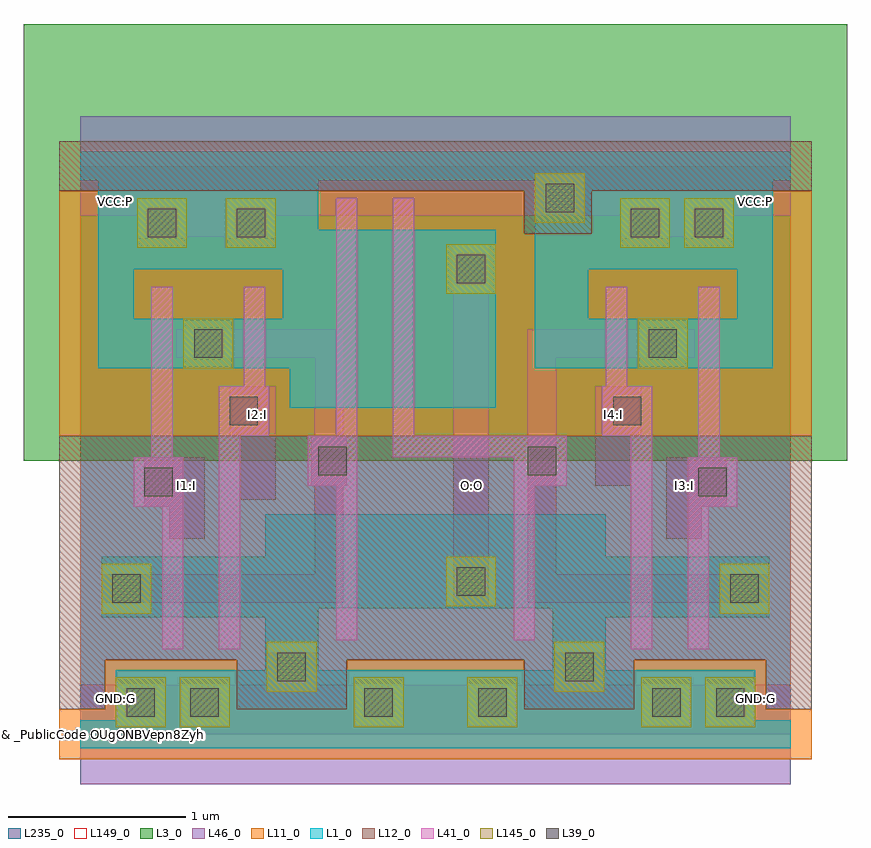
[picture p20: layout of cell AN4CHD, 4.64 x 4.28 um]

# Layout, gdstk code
from math import pi, radians
import gdstk
lib = gdstk.Library(unit=1e-6, precision=1e-09)
def R(c, l, rs):  # rectangles x0, y0, x1, y1
    for r in rs: c.add(gdstk.rectangle(r[:2], r[2:], *l))
def P(c, l, *ps):  # polygons
    for p in ps: c.add(gdstk.Polygon(p, *l))
L1_0 = (1, 0)
L3_0 = (3, 0)
L11_0 = (11, 0)
L12_0 = (12, 0)
L39_0 = (39, 0)
L41_0 = (41, 0)
L46_0 = (46, 0)
L145_0 = (145, 0)
L149_0 = (149, 0)
L235_0 = (235, 0)

c_mc = lib.new_cell('MC')
R(c_mc, L39_0, [(-0.08,-0.08,0.08,0.08)])
R(c_mc, L46_0, [(-0.08,-0.14,0.08,0.14)])
R(c_mc, L145_0, [(-0.14,-0.14,0.14,0.14)])

c_pc = lib.new_cell('PC')
R(c_pc, L39_0, [(-0.08,-0.08,0.08,0.08)])
R(c_pc, L41_0, [(-0.14,-0.14,0.14,0.14)])
R(c_pc, L46_0, [(-0.08,-0.14,0.08,0.14)])

phlenmfeccn__41gum4xw0 = lib.new_cell('PHLENMFECCN$$41Gum4XW0')
R(phlenmfeccn__41gum4xw0, L1_0, [(0,-0.08,4,0.08), (0.2,0.08,1.04,0.36), (1.34,0.08,2.18,0.36), (2.18,0.08,2.66,0.36), (2.96,0.08,3.8,0.36), (0.12,0.66,1.04,1), (2.96,0.66,3.88,1), (0,3.12,4,3.28)])
P(phlenmfeccn__41gum4xw0, L1_0, [(3.9,3.12),(3.7,3.12),(3.7,2.34),(2.86,2.34),(2.86,2.62),(3.7,2.62),(3.7,3.12),(2.56,3.12),(2.56,2.06),(3.9,2.06)],
  [(1.9,1.24),(2.96,1.24),(2.96,0.08),(2.66,0.08),(2.66,0.71),(1.9,0.71)],
  [(2.34,2.84),(1.34,2.84),(1.34,3.12),(1.14,3.12),(1.14,2.34),(0.3,2.34),(0.3,2.62),(1.14,2.62),(1.14,3.12),(0.1,3.12),(0.1,2.06),(1.18,2.06),(1.18,1.84),(2.34,1.84)],
  [(1.9,1.24),(1.04,1.24),(1.04,0.08),(1.34,0.08),(1.34,0.71),(1.9,0.71)])
R(phlenmfeccn__41gum4xw0, L3_0, [(-0.32,1.54,4.32,4)])
R(phlenmfeccn__41gum4xw0, L11_0, [(-0.12,-0.14,4.12,0.14), (0.14,0.14,0.88,0.42), (1.5,0.14,2.5,0.42), (3.12,0.14,3.86,0.42)])
P(phlenmfeccn__41gum4xw0, L11_0, [(4.12,3.06),(2.88,3.06),(2.88,2.82),(2.5,2.82),(2.5,3.06),(-0.12,3.06),(-0.12,1.68),(4.12,1.68)])
P(phlenmfeccn__41gum4xw0, L12_0, [(4.12,3.34),(-0.12,3.34),(-0.12,3.06),(2.5,3.06),(2.5,2.82),(2.88,2.82),(2.88,3.06),(4.12,3.06)],
  [(4.12,1.68),(-0.12,1.68),(-0.12,0.14),(0.14,0.14),(0.14,0.42),(0.88,0.42),(0.88,0.14),(1.5,0.14),(1.5,0.42),(2.5,0.42),(2.5,0.14),(3.12,0.14),(3.12,0.42),(3.86,0.42),(3.86,0.14),(4.12,0.14)])
R(phlenmfeccn__41gum4xw0, L46_0, [(1.05,0.28,1.33,0.46), (2.67,0.28,2.95,0.45), (1.3,1.4,1.5,1.68), (0.32,2.8,1.1,2.92), (3.04,2.8,3.68,2.92)])
R(phlenmfeccn__41gum4xw0, L149_0, [(0,0,4,3.2)])
R(phlenmfeccn__41gum4xw0, L235_0, [(0,0,4,3.2), (0,0,4,3.2), (0,0,4,3.2), (0,0,4,3.2), (0,0,4,3.2), (0,0,4,3.2), (0,0,4,3.2), (0,0,4,3.2), (0,0,4,3.2), (0,0,4,3.2), (0,0,4,3.2), (0,0,4,3.2)])
phlenmfeccn__41gum4xw0.add(gdstk.FlexPath([(0,3.2),(4,3.2)], 0.56, ends="flush", simple_path=True, layer=46, datatype=0))  # L46_0
phlenmfeccn__41gum4xw0.add(gdstk.FlexPath([(0,0),(4,0)], 0.56, ends="flush", simple_path=True, layer=46, datatype=0))  # L46_0
phlenmfeccn__41gum4xw0.add(gdstk.FlexPath([(3,1.4),(3,1.96)], 0.2, ends="flush", simple_path=True, layer=46, datatype=0))  # L46_0
phlenmfeccn__41gum4xw0.add(gdstk.FlexPath([(3.4,1.1),(3.4,1.56)], 0.2, ends="flush", simple_path=True, layer=46, datatype=0))  # L46_0
phlenmfeccn__41gum4xw0.add(gdstk.FlexPath([(3.46,2.2),(2.6,2.2),(2.6,0.82),(3.88,0.82)], 0.16, ends="flush", simple_path=True, layer=46, datatype=0))  # L46_0
phlenmfeccn__41gum4xw0.add(gdstk.FlexPath([(1,1.32),(1,1.96)], 0.2, ends="flush", simple_path=True, layer=46, datatype=0))  # L46_0
phlenmfeccn__41gum4xw0.add(gdstk.FlexPath([(0.6,1.1),(0.6,1.56)], 0.2, ends="flush", simple_path=True, layer=46, datatype=0))  # L46_0
phlenmfeccn__41gum4xw0.add(gdstk.FlexPath([(2.2,0.72),(2.2,2.76)], 0.2, ends="flush", simple_path=True, layer=46, datatype=0))  # L46_0
phlenmfeccn__41gum4xw0.add(gdstk.FlexPath([(0.54,2.2),(1.4,2.2),(1.4,0.82),(0.12,0.82)], 0.16, ends="flush", simple_path=True, layer=46, datatype=0))  # L46_0
phlenmfeccn__41gum4xw0.add(gdstk.FlexPath([(0.2,0),(0.2,3.2)], 0, ends="flush", simple_path=True, layer=145, datatype=0))  # L145_0
phlenmfeccn__41gum4xw0.add(gdstk.FlexPath([(0.6,0),(0.6,3.2)], 0, ends="flush", simple_path=True, layer=145, datatype=0))  # L145_0
phlenmfeccn__41gum4xw0.add(gdstk.FlexPath([(1,0),(1,3.2)], 0, ends="flush", simple_path=True, layer=145, datatype=0))  # L145_0
phlenmfeccn__41gum4xw0.add(gdstk.FlexPath([(1.4,0),(1.4,3.2)], 0, ends="flush", simple_path=True, layer=145, datatype=0))  # L145_0
phlenmfeccn__41gum4xw0.add(gdstk.FlexPath([(1.8,0),(1.8,3.2)], 0, ends="flush", simple_path=True, layer=145, datatype=0))  # L145_0
phlenmfeccn__41gum4xw0.add(gdstk.FlexPath([(2.2,0),(2.2,3.2)], 0, ends="flush", simple_path=True, layer=145, datatype=0))  # L145_0
phlenmfeccn__41gum4xw0.add(gdstk.FlexPath([(2.6,0),(2.6,3.2)], 0, ends="flush", simple_path=True, layer=145, datatype=0))  # L145_0
phlenmfeccn__41gum4xw0.add(gdstk.FlexPath([(3,0),(3,3.2)], 0, ends="flush", simple_path=True, layer=145, datatype=0))  # L145_0
phlenmfeccn__41gum4xw0.add(gdstk.FlexPath([(3.4,0),(3.4,3.2)], 0, ends="flush", simple_path=True, layer=145, datatype=0))  # L145_0
phlenmfeccn__41gum4xw0.add(gdstk.FlexPath([(3.8,0),(3.8,3.2)], 0, ends="flush", simple_path=True, layer=145, datatype=0))  # L145_0
phlenmfeccn__41gum4xw0.add(gdstk.FlexPath([(0,3),(4,3)], 0, ends="flush", simple_path=True, layer=145, datatype=0))  # L145_0
phlenmfeccn__41gum4xw0.add(gdstk.FlexPath([(0,2.6),(4,2.6)], 0, ends="flush", simple_path=True, layer=145, datatype=0))  # L145_0
phlenmfeccn__41gum4xw0.add(gdstk.FlexPath([(0,2.2),(4,2.2)], 0, ends="flush", simple_path=True, layer=145, datatype=0))  # L145_0
phlenmfeccn__41gum4xw0.add(gdstk.FlexPath([(0,1.8),(4,1.8)], 0, ends="flush", simple_path=True, layer=145, datatype=0))  # L145_0
phlenmfeccn__41gum4xw0.add(gdstk.FlexPath([(0,1.4),(4,1.4)], 0, ends="flush", simple_path=True, layer=145, datatype=0))  # L145_0
phlenmfeccn__41gum4xw0.add(gdstk.FlexPath([(0,1),(4,1)], 0, ends="flush", simple_path=True, layer=145, datatype=0))  # L145_0
phlenmfeccn__41gum4xw0.add(gdstk.FlexPath([(0,0.6),(4,0.6)], 0, ends="flush", simple_path=True, layer=145, datatype=0))  # L145_0
phlenmfeccn__41gum4xw0.add(gdstk.FlexPath([(0,0.2),(4,0.2)], 0, ends="flush", simple_path=True, layer=145, datatype=0))  # L145_0
phlenmfeccn__41gum4xw0.add(gdstk.FlexPath([(0.98,2.52),(0.98,1.9),(0.84,1.9),(0.84,0.48)], 0.12, ends="flush", simple_path=True, layer=41, datatype=0))  # L41_0
phlenmfeccn__41gum4xw0.add(gdstk.FlexPath([(3.02,2.52),(3.02,1.9),(3.16,1.9),(3.16,0.48)], 0.12, ends="flush", simple_path=True, layer=41, datatype=0))  # L41_0
phlenmfeccn__41gum4xw0.add(gdstk.FlexPath([(3.54,2.52),(3.54,1.5),(3.48,1.5),(3.48,0.48)], 0.12, ends="flush", simple_path=True, layer=41, datatype=0))  # L41_0
phlenmfeccn__41gum4xw0.add(gdstk.FlexPath([(1.82,3.02),(1.82,1.62),(2.5,1.62),(2.5,0.53)], 0.12, ends="flush", simple_path=True, layer=41, datatype=0))  # L41_0
phlenmfeccn__41gum4xw0.add(gdstk.FlexPath([(0.46,2.52),(0.46,1.5),(0.52,1.5),(0.52,0.48)], 0.12, ends="flush", simple_path=True, layer=41, datatype=0))  # L41_0
phlenmfeccn__41gum4xw0.add(gdstk.FlexPath([(1.5,0.53),(1.5,3.02)], 0.12, ends="flush", simple_path=True, layer=41, datatype=0))  # L41_0
r = gdstk.Reference(c_mc, (0.46,2.88), rotation=pi/2); r.repetition = gdstk.Repetition(1, 1, v1=(0,0.28), v2=(-0.32,0)); phlenmfeccn__41gum4xw0.add(r)
r = gdstk.Reference(c_mc, (0.26,0.82), rotation=pi/2); r.repetition = gdstk.Repetition(1, 1, v1=(0,0.28), v2=(-0.32,0)); phlenmfeccn__41gum4xw0.add(r)
r = gdstk.Reference(c_mc, (2.2,0.86)); r.repetition = gdstk.Repetition(1, 1, v1=(0.28,0), v2=(0,0.32)); phlenmfeccn__41gum4xw0.add(r)
r = gdstk.Reference(c_mc, (0.96,2.88), rotation=pi/2); r.repetition = gdstk.Repetition(1, 1, v1=(0,0.28), v2=(-0.32,0)); phlenmfeccn__41gum4xw0.add(r)
r = gdstk.Reference(c_mc, (0.7,0.18), rotation=pi/2); r.repetition = gdstk.Repetition(1, 1, v1=(0,0.28), v2=(-0.32,0)); phlenmfeccn__41gum4xw0.add(r)
r = gdstk.Reference(c_mc, (1.19,0.38), rotation=pi/2); r.repetition = gdstk.Repetition(1, 1, v1=(0,0.28), v2=(-0.32,0)); phlenmfeccn__41gum4xw0.add(r)
r = gdstk.Reference(c_mc, (1.68,0.18), rotation=pi/2, x_reflection=True); r.repetition = gdstk.Repetition(1, 1, v1=(0,0.28), v2=(0.32,0)); phlenmfeccn__41gum4xw0.add(r)
r = gdstk.Reference(c_mc, (0.34,0.18), rotation=pi/2); r.repetition = gdstk.Repetition(1, 1, v1=(0,0.28), v2=(-0.32,0)); phlenmfeccn__41gum4xw0.add(r)
r = gdstk.Reference(c_mc, (2.2,2.62)); r.repetition = gdstk.Repetition(1, 1, v1=(0.28,0), v2=(0,0.32)); phlenmfeccn__41gum4xw0.add(r)
r = gdstk.Reference(c_mc, (3.54,2.88), rotation=pi/2, x_reflection=True); r.repetition = gdstk.Repetition(1, 1, v1=(0,0.28), v2=(0.32,0)); phlenmfeccn__41gum4xw0.add(r)
r = gdstk.Reference(c_mc, (3.74,0.82), rotation=pi/2, x_reflection=True); r.repetition = gdstk.Repetition(1, 1, v1=(0,0.28), v2=(0.32,0)); phlenmfeccn__41gum4xw0.add(r)
r = gdstk.Reference(c_mc, (3.18,2.88), rotation=pi/2, x_reflection=True); r.repetition = gdstk.Repetition(1, 1, v1=(0,0.28), v2=(0.32,0)); phlenmfeccn__41gum4xw0.add(r)
r = gdstk.Reference(c_mc, (2.7,3.02), rotation=pi/2, x_reflection=True); r.repetition = gdstk.Repetition(1, 1, v1=(0,0.28), v2=(0.32,0)); phlenmfeccn__41gum4xw0.add(r)
r = gdstk.Reference(c_mc, (3.3,0.18), rotation=pi/2, x_reflection=True); r.repetition = gdstk.Repetition(1, 1, v1=(0,0.28), v2=(0.32,0)); phlenmfeccn__41gum4xw0.add(r)
r = gdstk.Reference(c_mc, (2.81,0.38), rotation=pi/2, x_reflection=True); r.repetition = gdstk.Repetition(1, 1, v1=(0,0.28), v2=(0.32,0)); phlenmfeccn__41gum4xw0.add(r)
r = gdstk.Reference(c_mc, (2.32,0.18), rotation=pi/2); r.repetition = gdstk.Repetition(1, 1, v1=(0,0.28), v2=(-0.32,0)); phlenmfeccn__41gum4xw0.add(r)
r = gdstk.Reference(c_mc, (3.66,0.18), rotation=pi/2, x_reflection=True); r.repetition = gdstk.Repetition(1, 1, v1=(0,0.28), v2=(0.32,0)); phlenmfeccn__41gum4xw0.add(r)
r = gdstk.Reference(c_mc, (3.28,2.2), rotation=pi/2, x_reflection=True); r.repetition = gdstk.Repetition(1, 1, v1=(0,0.28), v2=(0.32,0)); phlenmfeccn__41gum4xw0.add(r)
r = gdstk.Reference(c_mc, (0.72,2.2), rotation=pi/2); r.repetition = gdstk.Repetition(1, 1, v1=(0,0.28), v2=(-0.32,0)); phlenmfeccn__41gum4xw0.add(r)
r = gdstk.Reference(c_pc, (0.44,1.42)); r.repetition = gdstk.Repetition(1, 1, v1=(0.28,0), v2=(0,0.32)); phlenmfeccn__41gum4xw0.add(r)
r = gdstk.Reference(c_pc, (1.42,1.54)); r.repetition = gdstk.Repetition(1, 1, v1=(0.28,0), v2=(0,0.32)); phlenmfeccn__41gum4xw0.add(r)
r = gdstk.Reference(c_pc, (3.56,1.42), rotation=pi, x_reflection=True); r.repetition = gdstk.Repetition(1, 1, v1=(-0.28,0), v2=(0,0.32)); phlenmfeccn__41gum4xw0.add(r)
r = gdstk.Reference(c_pc, (2.6,1.54), rotation=pi, x_reflection=True); r.repetition = gdstk.Repetition(1, 1, v1=(-0.28,0), v2=(0,0.32)); phlenmfeccn__41gum4xw0.add(r)
r = gdstk.Reference(c_pc, (3.08,1.82), rotation=pi, x_reflection=True); r.repetition = gdstk.Repetition(1, 1, v1=(-0.28,0), v2=(0,0.32)); phlenmfeccn__41gum4xw0.add(r)
r = gdstk.Reference(c_pc, (0.92,1.82)); r.repetition = gdstk.Repetition(1, 1, v1=(0.28,0), v2=(0,0.32)); phlenmfeccn__41gum4xw0.add(r)
phlenmfeccn__41gum4xw0.add(gdstk.Label('#Id:7JQJaQKD4XF6RXVVFbbMNLABMd9CZLGaK99JL0306AKC574:4A3EOSP8MXXWHY99T6WBH22210RAL9', (0.02,0.02), layer=147, texttype=0))
phlenmfeccn__41gum4xw0.add(gdstk.Label('AN4CHD', (0,0), layer=144, texttype=0))
phlenmfeccn__41gum4xw0.add(gdstk.Label('VCC:P', (0.2,3), layer=101, texttype=0))
phlenmfeccn__41gum4xw0.add(gdstk.Label('VCC:P', (3.8,3), layer=101, texttype=0))
phlenmfeccn__41gum4xw0.add(gdstk.Label('GND:G', (0.2,0.2), layer=101, texttype=0))
phlenmfeccn__41gum4xw0.add(gdstk.Label('GND:G', (3.8,0.2), layer=101, texttype=0))
phlenmfeccn__41gum4xw0.add(gdstk.Label('I4:I', (3,1.8), layer=101, texttype=0))
phlenmfeccn__41gum4xw0.add(gdstk.Label('I3:I', (3.4,1.4), layer=101, texttype=0))
phlenmfeccn__41gum4xw0.add(gdstk.Label('O:O', (2.2,1.4), layer=101, texttype=0))
phlenmfeccn__41gum4xw0.add(gdstk.Label('I2:I', (1,1.8), layer=101, texttype=0))
phlenmfeccn__41gum4xw0.add(gdstk.Label('I1:I', (0.6,1.4), layer=101, texttype=0))

an4chd = lib.new_cell('AN4CHD')
R(an4chd, L149_0, [(0,0,4,3.2)])
an4chd.add(gdstk.Reference(phlenmfeccn__41gum4xw0, (0,0)))
an4chd.add(gdstk.Label('& _PublicCode OUgONBVepn8Zyhuhb7nzKSFGv0ozQ4p7', (0,0), layer=3, texttype=0))
an4chd.add(gdstk.Label('& Metric 12.80', (0,0), layer=3, texttype=0))
an4chd.add(gdstk.Label('& Version 2009Q1V3.0', (0,0), layer=3, texttype=0))
an4chd.add(gdstk.Label('& Product FSC0H_D_GENERIC_CORE', (0,0), layer=3, texttype=0))
an4chd.add(gdstk.Label('& Vendor Faraday_Technology_Corp.', (0,0), layer=3, texttype=0))
an4chd.add(gdstk.Label('#Id:7JQJaQKD4XF6RXVVFbbMNLABMd9CZLGaK99JL0306AKC574:4A3EOSP8MXXWHY99T6WBH22210RAL9', (0.02,0.02), layer=147, texttype=0))
an4chd.add(gdstk.Label('AN4CHD', (0,0), layer=144, texttype=0))
an4chd.add(gdstk.Label('VCC:P', (0.2,3), layer=101, texttype=0))
an4chd.add(gdstk.Label('VCC:P', (3.8,3), layer=101, texttype=0))
an4chd.add(gdstk.Label('GND:G', (0.2,0.2), layer=101, texttype=0))
an4chd.add(gdstk.Label('GND:G', (3.8,0.2), layer=101, texttype=0))
an4chd.add(gdstk.Label('I4:I', (3,1.8), layer=101, texttype=0))
an4chd.add(gdstk.Label('I3:I', (3.4,1.4), layer=101, texttype=0))
an4chd.add(gdstk.Label('O:O', (2.2,1.4), layer=101, texttype=0))
an4chd.add(gdstk.Label('I2:I', (1,1.8), layer=101, texttype=0))
an4chd.add(gdstk.Label('I1:I', (0.6,1.4), layer=101, texttype=0))

lib.write_gds('AN4CHD.gds')
